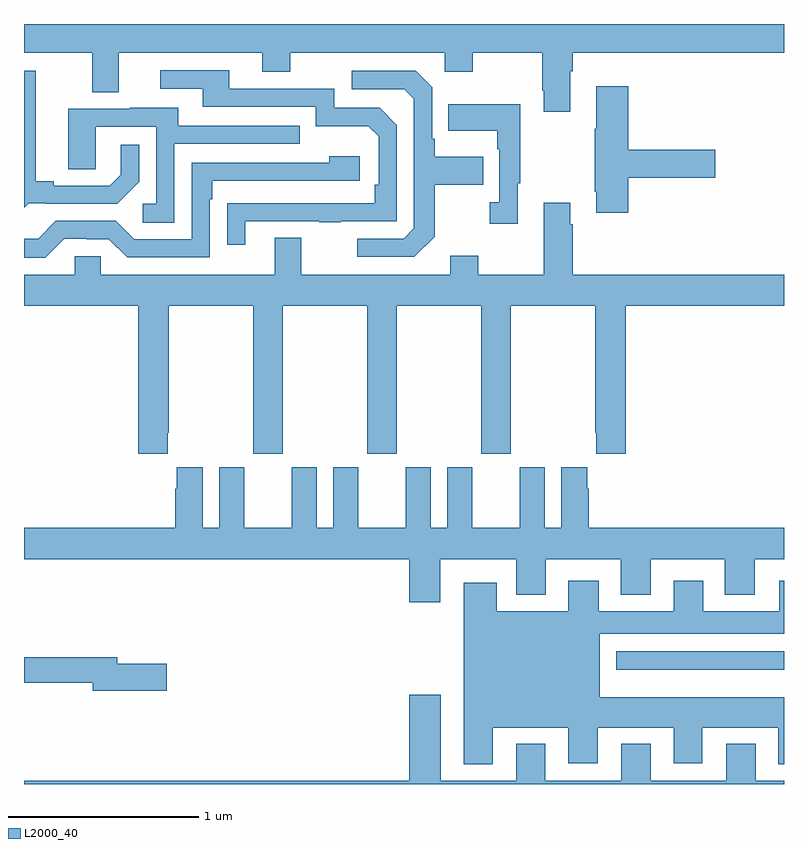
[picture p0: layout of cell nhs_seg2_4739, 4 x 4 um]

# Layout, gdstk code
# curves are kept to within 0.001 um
import gdstk
lib = gdstk.Library(unit=1e-6, precision=1e-09)
def R(c, l, rs):  # rectangles x0, y0, x1, y1
    for r in rs: c.add(gdstk.rectangle(r[:2], r[2:], *l))
def P(c, l, *ps):  # polygons
    for p in ps: c.add(gdstk.Polygon(p, *l))
L2000_40 = (2000, 40)

nhs_seg2_4739 = lib.new_cell('nhs_seg2_4739')
R(nhs_seg2_4739, L2000_40, [(372.116,632.402,373,632.499)])
P(nhs_seg2_4739, L2000_40, [(371.875,635.552),(371.888,635.552),(371.888,635.648),(373,635.648),(373,635.8),(369,635.8),(369,635.648),(369.359,635.648),(369.359,635.44),(369.499,635.44),(369.499,635.648),(370.253,635.648),(370.253,635.549),(370.401,635.549),(370.401,635.648),(371.214,635.648),(371.214,635.549),(371.361,635.549),(371.361,635.648),(371.728,635.648),(371.728,635.449),(371.735,635.449),(371.735,635.337),(371.875,635.337)],
  [(370.165,634.761),(370.555,634.761),(370.555,634.756),(370.667,634.756),(370.667,634.761),(370.962,634.761),(370.962,635.268),(370.872,635.358),(370.632,635.358),(370.632,635.46),(370.081,635.46),(370.081,635.556),(369.717,635.556),(369.717,635.46),(369.941,635.46),(369.941,635.364),(370.536,635.364),(370.536,635.261),(370.813,635.261),(370.866,635.208),(370.866,634.954),(370.846,634.954),(370.846,634.857),(370.069,634.856),(370.069,634.638),(370.165,634.638)],
  [(369.024,634.857),(369.118,634.857),(369.118,634.854),(369.49,634.854),(369.606,634.97),(369.606,635.164),(369.509,635.164),(369.509,635.007),(369.452,634.95),(369.157,634.95),(369.157,634.973),(369.061,634.973),(369.061,635.553),(369,635.553),(369,634.833)],
  [(371.161,634.681),(371.161,634.954),(371.417,634.954),(371.417,635.101),(371.161,635.101),(371.161,635.197),(371.148,635.197),(371.148,635.466),(371.061,635.553),(370.725,635.553),(370.725,635.457),(371.001,635.457),(371.052,635.406),(371.052,634.725),(370.998,634.671),(370.755,634.671),(370.755,634.575),(371.055,634.575)],
  [(372.179,634.991),(372.637,634.991),(372.637,635.138),(372.179,635.138),(372.179,635.473),(372.011,635.473),(372.011,635.249),(372.004,635.249),(372.004,634.918),(372.011,634.918),(372.011,634.806),(372.179,634.806)],
  [(371.599,634.961),(371.611,634.961),(371.611,635.377),(371.233,635.377),(371.233,635.237),(371.49,635.237),(371.49,635.141),(371.502,635.141),(371.502,634.862),(371.451,634.862),(371.451,634.749),(371.599,634.749)],
  [(369.792,635.169),(370.451,635.169),(370.451,635.265),(369.811,635.265),(369.811,635.359),(369.557,635.359),(369.557,635.355),(369.233,635.355),(369.233,635.035),(369.378,635.035),(369.378,635.259),(369.696,635.259),(369.696,634.854),(369.624,634.854),(369.624,634.753),(369.792,634.753)],
  [(369.213,634.671),(369.329,634.671),(369.329,634.668),(369.447,634.668),(369.543,634.572),(369.978,634.572),(369.978,634.877),(369.991,634.877),(369.991,634.974),(370.768,634.974),(370.768,635.104),(370.607,635.104),(370.607,635.07),(369.882,635.07),(369.882,634.668),(369.579,634.668),(369.483,634.764),(369.168,634.764),(369.075,634.671),(369,634.671),(369,634.571),(369.113,634.571)],
  [(369.757,633.649),(369.762,633.649),(369.762,634.316),(370.207,634.316),(370.207,633.537),(370.362,633.537),(370.362,634.316),(370.807,634.316),(370.807,633.537),(370.962,633.537),(370.962,634.316),(371.407,634.316),(371.407,633.537),(371.562,633.537),(371.562,634.316),(372.007,634.316),(372.007,633.649),(372.011,633.649),(372.011,633.537),(372.167,633.537),(372.167,634.316),(373,634.316),(373,634.48),(371.888,634.48),(371.888,634.745),(371.875,634.745),(371.875,634.858),(371.735,634.858),(371.735,634.48),(371.391,634.48),(371.391,634.579),(371.243,634.579),(371.243,634.48),(370.459,634.48),(370.459,634.675),(370.319,634.675),(370.319,634.48),(369.405,634.48),(369.405,634.578),(369.267,634.578),(369.267,634.48),(369,634.48),(369,634.316),(369.602,634.316),(369.602,633.537),(369.757,633.537)],
  [(371.191,632.984),(371.591,632.984),(371.591,632.795),(371.746,632.795),(371.746,632.984),(372.14,632.984),(372.14,632.795),(372.298,632.795),(372.298,632.984),(372.689,632.984),(372.689,632.795),(372.847,632.795),(372.847,632.984),(373,632.984),(373,633.148),(371.972,633.148),(371.972,633.353),(371.965,633.353),(371.965,633.466),(371.828,633.466),(371.828,633.148),(371.74,633.148),(371.74,633.466),(371.609,633.466),(371.609,633.148),(371.359,633.148),(371.359,633.466),(371.228,633.466),(371.228,633.148),(371.14,633.148),(371.14,633.466),(371.009,633.466),(371.009,633.148),(370.759,633.148),(370.759,633.466),(370.628,633.466),(370.628,633.148),(370.54,633.148),(370.54,633.466),(370.409,633.466),(370.409,633.148),(370.159,633.148),(370.159,633.466),(370.028,633.466),(370.028,633.148),(369.94,633.148),(369.94,633.466),(369.803,633.466),(369.803,633.353),(369.797,633.353),(369.797,633.148),(369,633.148),(369,632.984),(371.027,632.984),(371.027,632.757),(371.191,632.757)],
  [(371.467,632.096),(371.864,632.096),(371.864,631.908),(372.019,631.908),(372.019,632.096),(372.419,632.096),(372.419,631.908),(372.571,631.908),(372.571,632.096),(372.971,632.096),(372.971,631.905),(373,631.905),(373,632.257),(372.031,632.257),(372.031,632.591),(373,632.591),(373,632.869),(372.974,632.869),(372.974,632.71),(372.574,632.71),(372.574,632.869),(372.419,632.869),(372.419,632.71),(372.025,632.71),(372.025,632.869),(371.864,632.869),(371.864,632.71),(371.488,632.71),(371.488,632.86),(371.315,632.86),(371.315,631.905),(371.467,631.905)],
  [(369.751,632.432),(369.49,632.432),(369.49,632.468),(369,632.468),(369,632.332),(369.362,632.332),(369.362,632.29),(369.751,632.29)],
  [(372.695,632.011),(372.695,631.816),(372.298,631.816),(372.298,632.011),(372.143,632.011),(372.143,631.816),(371.743,631.816),(371.743,632.011),(371.591,632.011),(371.591,631.816),(371.194,631.816),(371.194,632.269),(371.027,632.269),(371.027,631.816),(369,631.816),(369,631.8),(373,631.8),(373,631.816),(372.85,631.816),(372.85,632.011)])

lib.write_gds('nhs_seg2_4739.gds')
